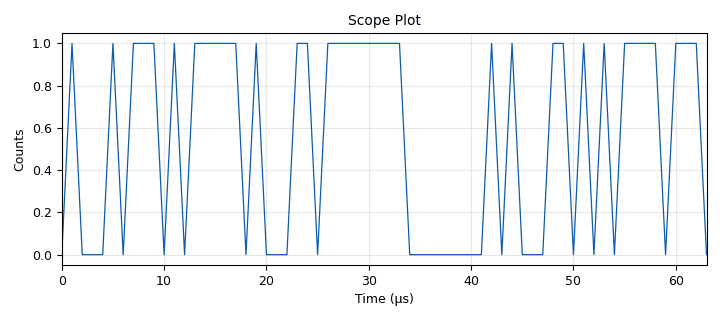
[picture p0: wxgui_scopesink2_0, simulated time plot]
<?xml version='1.0' encoding='utf-8'?>
<?grc format='1' created='3.7.11'?>
<flow_graph>
<block>
<key>options</key>
<param><key>id</key><value>top_block</value></param>
<param><key>generate_options</key><value>wx_gui</value></param>
</block>
<block>
<key>variable</key>
<param><key>id</key><value>no_sc</value></param>
<param><key>value</key><value>32</value></param>
</block>
<block>
<key>variable</key>
<param><key>id</key><value>samp_rate</value></param>
<param><key>value</key><value>1e6</value></param>
</block>
<block>
<key>analog_random_source_x</key>
<param><key>id</key><value>analog_random_source_x_0</value></param>
<param><key>max</key><value>2</value></param>
<param><key>min</key><value>0</value></param>
<param><key>num_samps</key><value>1000</value></param>
<param><key>type</key><value>short</value></param>
<param><key>repeat</key><value>True</value></param>
</block>
<block>
<key>blocks_short_to_float</key>
<param><key>id</key><value>blocks_short_to_float_0</value></param>
<param><key>scale</key><value>1</value></param>
</block>
<block>
<key>blocks_throttle</key>
<param><key>id</key><value>blocks_throttle_0</value></param>
<param><key>samples_per_second</key><value>samp_rate</value></param>
<param><key>type</key><value>complex</value></param>
</block>
<block>
<key>digital_ofdm_demod</key>
<param><key>id</key><value>digital_ofdm_demod_0</value></param>
<param><key>cp_length</key><value>128</value></param>
<param><key>_enabled</key><value>0</value></param>
<param><key>fft_length</key><value>512</value></param>
<param><key>modulation</key><value>bpsk</value></param>
<param><key>occupied_tones</key><value>no_sc</value></param>
<param><key>type</key><value>float</value></param>
<param><key>snr</key><value>10</value></param>
</block>
<block>
<key>digital_ofdm_mod</key>
<param><key>id</key><value>digital_ofdm_mod</value></param>
<param><key>cp_length</key><value>128</value></param>
<param><key>fft_length</key><value>512</value></param>
<param><key>type</key><value>float</value></param>
<param><key>modulation</key><value>bpsk</value></param>
<param><key>occupied_tones</key><value>no_sc</value></param>
<param><key>pad_for_usrp</key><value>True</value></param>
<param><key>payload_length</key><value>0</value></param>
</block>
<block>
<key>wxgui_fftsink2</key>
<param><key>id</key><value>wxgui_fftsink2_0</value></param>
<param><key>avg_alpha</key><value>0</value></param>
<param><key>average</key><value>False</value></param>
<param><key>baseband_freq</key><value>0</value></param>
<param><key>fft_size</key><value>1024</value></param>
<param><key>freqvar</key><value>None</value></param>
<param><key>peak_hold</key><value>False</value></param>
<param><key>ref_level</key><value>0</value></param>
<param><key>ref_scale</key><value>2.0</value></param>
<param><key>fft_rate</key><value>15</value></param>
<param><key>samp_rate</key><value>samp_rate</value></param>
<param><key>title</key><value>FFT Plot</value></param>
<param><key>type</key><value>complex</value></param>
<param><key>win</key><value>None</value></param>
<param><key>y_divs</key><value>10</value></param>
<param><key>y_per_div</key><value>10</value></param>
</block>
<block>
<key>wxgui_scopesink2</key>
<param><key>id</key><value>wxgui_scopesink2_0</value></param>
<param><key>ac_couple</key><value>False</value></param>
<param><key>num_inputs</key><value>1</value></param>
<param><key>samp_rate</key><value>samp_rate</value></param>
<param><key>t_scale</key><value>0</value></param>
<param><key>title</key><value>Scope Plot</value></param>
<param><key>trig_mode</key><value>wxgui.TRIG_MODE_AUTO</value></param>
<param><key>type</key><value>float</value></param>
<param><key>v_offset</key><value>0</value></param>
<param><key>v_scale</key><value>0</value></param>
<param><key>xy_mode</key><value>False</value></param>
<param><key>y_axis_label</key><value>Counts</value></param>
</block>
<block>
<key>wxgui_scopesink2</key>
<param><key>id</key><value>wxgui_scopesink2_0_0</value></param>
<param><key>ac_couple</key><value>False</value></param>
<param><key>_enabled</key><value>0</value></param>
<param><key>num_inputs</key><value>1</value></param>
<param><key>samp_rate</key><value>samp_rate</value></param>
<param><key>t_scale</key><value>0</value></param>
<param><key>title</key><value>Scope Plot</value></param>
<param><key>trig_mode</key><value>wxgui.TRIG_MODE_AUTO</value></param>
<param><key>type</key><value>float</value></param>
<param><key>v_offset</key><value>0</value></param>
<param><key>v_scale</key><value>0</value></param>
<param><key>xy_mode</key><value>False</value></param>
<param><key>y_axis_label</key><value>Counts</value></param>
</block>
<connection><source_block_id>analog_random_source_x_0</source_block_id><sink_block_id>blocks_short_to_float_0</sink_block_id><source_key>0</source_key><sink_key>0</sink_key></connection>
<connection><source_block_id>blocks_short_to_float_0</source_block_id><sink_block_id>digital_ofdm_mod</sink_block_id><source_key>0</source_key><sink_key>0</sink_key></connection>
<connection><source_block_id>blocks_short_to_float_0</source_block_id><sink_block_id>wxgui_scopesink2_0</sink_block_id><source_key>0</source_key><sink_key>0</sink_key></connection>
<connection><source_block_id>blocks_throttle_0</source_block_id><sink_block_id>wxgui_fftsink2_0</sink_block_id><source_key>0</source_key><sink_key>0</sink_key></connection>
<connection><source_block_id>digital_ofdm_demod_0</source_block_id><sink_block_id>wxgui_scopesink2_0_0</sink_block_id><source_key>0</source_key><sink_key>0</sink_key></connection>
<connection><source_block_id>digital_ofdm_mod</source_block_id><sink_block_id>blocks_throttle_0</sink_block_id><source_key>0</source_key><sink_key>0</sink_key></connection>
<connection><source_block_id>digital_ofdm_mod</source_block_id><sink_block_id>digital_ofdm_demod_0</sink_block_id><source_key>0</source_key><sink_key>0</sink_key></connection>
</flow_graph>
